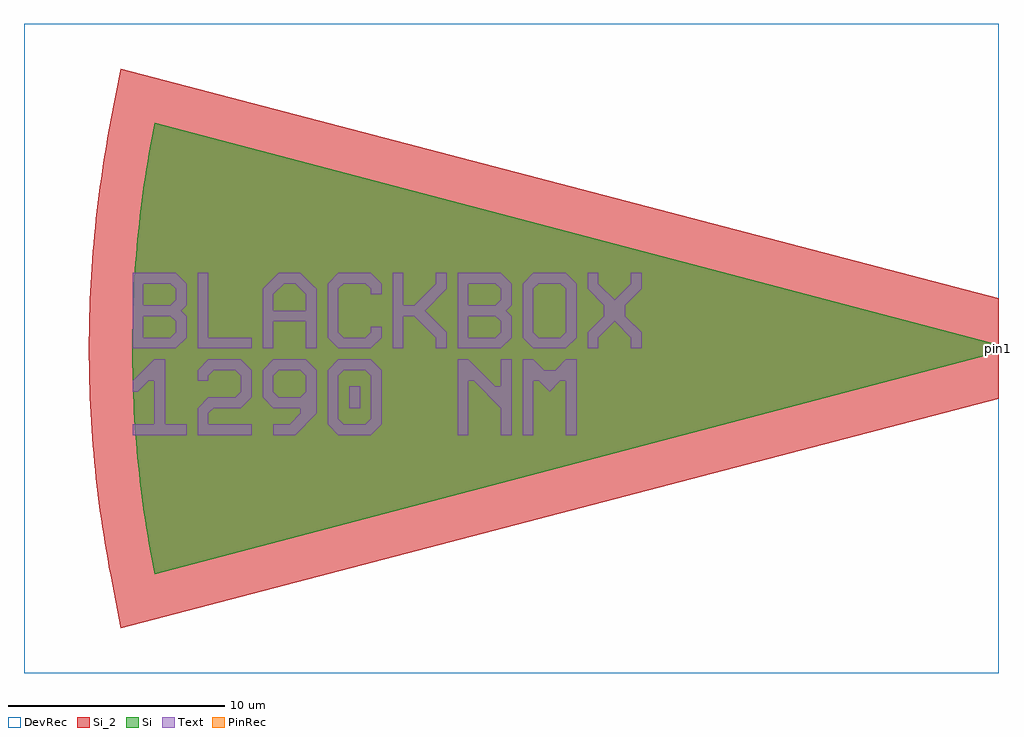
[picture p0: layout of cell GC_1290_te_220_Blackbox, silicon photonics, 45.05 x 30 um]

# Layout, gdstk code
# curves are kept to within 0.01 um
import gdstk
lib = gdstk.Library(unit=1e-6, precision=1e-09)
def R(c, l, rs):  # rectangles x0, y0, x1, y1
    for r in rs: c.add(gdstk.rectangle(r[:2], r[2:], *l))
def P(c, l, *ps):  # polygons
    for p in ps: c.add(gdstk.Polygon(p, *l))
Si = (1, 0)
Si_2 = (1, 2)
PinRec = (1, 10)
Text = (10, 0)
DevRec = (68, 0)

gc_1290_te_220_blackbox = lib.new_cell('GC_1290_te_220_Blackbox')
P(gc_1290_te_220_blackbox, Si, [(-38.974,-10.431),(-39.176,-9.357),(-39.411,-7.922),(-39.561,-6.845),(-39.727,-5.406),(-39.854,-3.966),(-39.942,-2.524),(-39.991,-1.082),(-40.002,0),(-39.991,1.082),(-39.942,2.524),(-39.854,3.966),(-39.727,5.406),(-39.561,6.845),(-39.411,7.922),(-39.176,9.357),(-38.974,10.431),(0,0.175),(0,-0.175)])
P(gc_1290_te_220_blackbox, Si_2, [(-40.529,-12.904),(-41.007,-10.457),(-41.209,-9.338),(-41.442,-7.85),(-41.635,-6.364),(-41.787,-4.868),(-41.899,-3.367),(-41.97,-1.875),(-42.002,0),(-41.97,1.864),(-41.899,3.367),(-41.788,4.858),(-41.637,6.347),(-41.444,7.839),(-41.211,9.328),(-41.012,10.431),(-40.529,12.904),(0,2.317),(0,-2.317)])
R(gc_1290_te_220_blackbox, Text, [(-29.99,-2.75,-29.49,-1.75)])
P(gc_1290_te_220_blackbox, Text, [(-39.99,-4),(-39.99,-3.5),(-38.99,-3.5),(-38.99,-1.5),(-39.24,-1.5),(-39.74,-2),(-39.99,-2),(-39.99,-1.5),(-38.99,-0.5),(-38.49,-0.5),(-38.49,-3.5),(-37.49,-3.5),(-37.49,-4)],
  [(-36.99,-4),(-36.99,-2.75),(-36.49,-2.25),(-35.24,-2.25),(-34.99,-2),(-34.99,-1.25),(-35.24,-1),(-36.24,-1),(-36.49,-1.25),(-36.49,-1.5),(-36.99,-1.5),(-36.99,-1),(-36.49,-0.5),(-34.99,-0.5),(-34.49,-1),(-34.49,-2.25),(-34.99,-2.75),(-36.24,-2.75),(-36.49,-3),(-36.49,-3.5),(-34.49,-3.5),(-34.49,-4)],
  [(-33.49,-4),(-33.49,-3.5),(-32.74,-3.5),(-32.24,-3),(-32.24,-2.75),(-33.49,-2.75),(-33.99,-2.25),(-32.24,-2.25),(-31.99,-2),(-31.99,-1.25),(-32.24,-1),(-33.24,-1),(-33.49,-1.25),(-33.49,-2),(-33.24,-2.25),(-33.99,-2.25),(-33.99,-1),(-33.49,-0.5),(-31.99,-0.5),(-31.49,-1),(-31.49,-3),(-32.49,-4)],
  [(-30.49,-4),(-30.99,-3.5),(-30.99,-1),(-30.49,-0.5),(-28.99,-0.5),(-28.49,-1),(-30.24,-1),(-30.49,-1.25),(-30.49,-3.25),(-30.24,-3.5),(-29.24,-3.5),(-28.99,-3.25),(-28.99,-1.25),(-29.24,-1),(-28.49,-1),(-28.49,-3.5),(-28.99,-4)],
  [(-39.99,0),(-39.99,3.5),(-37.99,3.5),(-37.49,3),(-39.49,3),(-39.49,2),(-38.24,2),(-37.99,2.25),(-37.99,2.75),(-38.24,3),(-37.49,3),(-37.49,2),(-37.74,1.75),(-37.49,1.5),(-39.49,1.5),(-39.49,0.5),(-38.24,0.5),(-37.99,0.75),(-37.99,1.25),(-38.24,1.5),(-37.49,1.5),(-37.49,0.5),(-37.99,0)],
  [(-36.99,0),(-36.99,3.5),(-36.49,3.5),(-36.49,0.5),(-34.49,0.5),(-34.49,0)],
  [(-33.99,0),(-33.99,2.75),(-33.24,3.5),(-32.24,3.5),(-31.74,3),(-32.99,3),(-33.49,2.5),(-33.49,1.75),(-31.99,1.75),(-31.99,2.5),(-32.49,3),(-31.74,3),(-31.49,2.75),(-31.49,0),(-31.99,0),(-31.99,1.25),(-33.49,1.25),(-33.49,0)],
  [(-30.49,0),(-30.99,0.5),(-30.99,3),(-30.49,3.5),(-28.99,3.5),(-28.49,3),(-28.49,2.5),(-28.99,2.5),(-28.99,2.75),(-29.24,3),(-30.24,3),(-30.49,2.75),(-30.49,0.75),(-30.24,0.5),(-29.24,0.5),(-28.99,0.75),(-28.99,1),(-28.49,1),(-28.49,0.5),(-28.99,0)],
  [(-27.99,0),(-27.99,3.5),(-27.49,3.5),(-27.49,2),(-26.99,2),(-25.99,3),(-25.99,3.5),(-25.49,3.5),(-25.49,2.75),(-26.49,1.75),(-25.49,0.75),(-25.49,0),(-25.99,0),(-25.99,0.5),(-26.99,1.5),(-27.49,1.5),(-27.49,0)],
  [(-24.99,0),(-24.99,3.5),(-22.99,3.5),(-22.49,3),(-24.49,3),(-24.49,2),(-23.24,2),(-22.99,2.25),(-22.99,2.75),(-23.24,3),(-22.49,3),(-22.49,2),(-22.74,1.75),(-22.49,1.5),(-24.49,1.5),(-24.49,0.5),(-23.24,0.5),(-22.99,0.75),(-22.99,1.25),(-23.24,1.5),(-22.49,1.5),(-22.49,0.5),(-22.99,0)],
  [(-21.49,0),(-21.99,0.5),(-21.99,3),(-21.49,3.5),(-19.99,3.5),(-19.49,3),(-19.49,1.75),(-19.99,1.75),(-19.99,2.75),(-20.24,3),(-21.24,3),(-21.49,2.75),(-21.49,0.75),(-21.24,0.5),(-20.24,0.5),(-19.99,0.75),(-19.99,1.75),(-19.49,1.75),(-19.49,0.5),(-19.99,0)],
  [(-18.99,0),(-18.99,0.75),(-18.24,1.5),(-18.24,2),(-18.99,2.75),(-18.99,3.5),(-18.49,3.5),(-18.49,3),(-17.74,2.25),(-16.99,3),(-16.99,3.5),(-16.49,3.5),(-16.49,2.75),(-17.24,2),(-17.24,1.5),(-16.49,0.75),(-16.49,0),(-16.99,0),(-16.99,0.5),(-17.74,1.25),(-18.49,0.5),(-18.49,0)],
  [(-24.99,-4),(-24.99,-0.5),(-24.49,-0.5),(-23.24,-1.75),(-22.99,-1.75),(-22.99,-0.5),(-22.49,-0.5),(-22.49,-4),(-22.99,-4),(-22.99,-2.75),(-24.24,-1.5),(-24.49,-1.5),(-24.49,-4)],
  [(-21.99,-4),(-21.99,-0.5),(-21.49,-0.5),(-20.99,-1),(-20.49,-1),(-19.99,-0.5),(-19.49,-0.5),(-19.49,-4),(-19.99,-4),(-19.99,-1.5),(-20.24,-1.5),(-20.74,-2),(-21.24,-1.5),(-21.49,-1.5),(-21.49,-4)])
R(gc_1290_te_220_blackbox, DevRec, [(-45,-15,0,15)])
gc_1290_te_220_blackbox.add(gdstk.FlexPath([(-0.05,0),(0.05,0)], 0.35, ends="flush", simple_path=True, layer=1, datatype=10))  # PinRec
gc_1290_te_220_blackbox.add(gdstk.Label('pin1', (0,0), layer=1, texttype=10))

lib.write_gds('GC_1290_te_220_Blackbox.gds')
